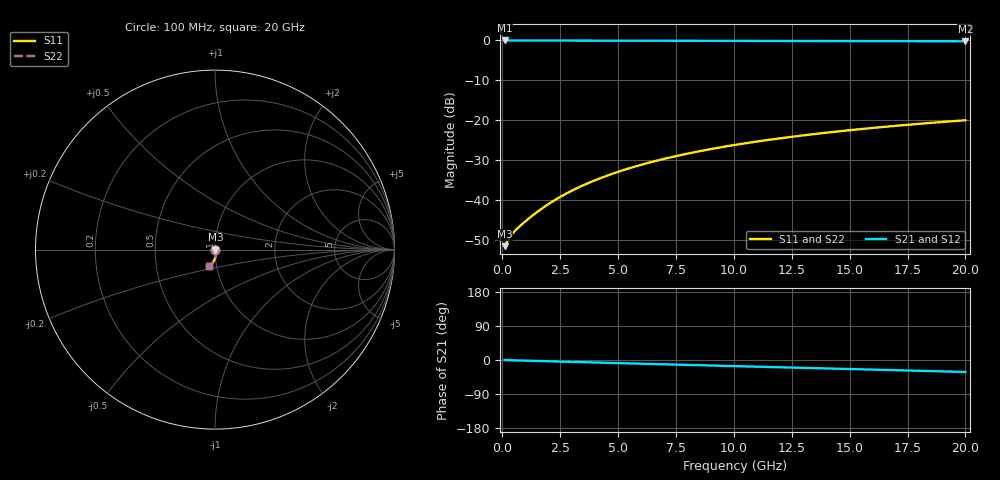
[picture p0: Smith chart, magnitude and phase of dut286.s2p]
! Touchstone file exported from HFSS 2026.1.0
!  File:  C:/ffzhzh/LocalFiles/Ansys_Project_Files/temp_train_BSMRDL_286_1782989185_42984.aedt
!  Generated:  06:47:32 PM Jul  2, 2026
!  Design:  BSMRDL
!  Project:  temp_train_BSMRDL_286_1782989185_42984
! Variables:
!  h_bsmrdl = 4.92um
!  h_ox = 20um
!  h_rdl = 5um
!  h_sub = 80um
!  h_tmrdl = 5um
!  h_tsv = 80um
!  h_via = 3um
!  l_bsmrdl = 561.13um
!  l_sub = 961.13um
!  l_tmrdl = 200um
!  m_sub = 200um
!  pitch = 19.77um
!  r_tsv = 6um
!  s_tmrdl = 10um
!  w_bsmrdl = 16.91um
!  w_sub = 500um
!  w_tmrdl = 12um
!  x_tsv_center1 = 206um
!  x_tsv_center2 = 784.04um
!  x_tsv_center3 = 996.04um
!  x_tsv_center4 = 1574.08um
!  x_tsv_center5 = 1786.08um
!  x_tsv_center6 = 2364.12um
# GHz S MA R 50.000000
! Terminal data exported
! Port[1] = BSM_RDL1_1_T1
! Port[2] = BSM_RDL1_1_T2
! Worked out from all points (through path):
!   200 points, 100 MHz to 20 GHz, reference 50 ohm
!   highest |S21| = -0.02 dB at 100 MHz (marker M1); lowest = -0.2 dB at 20 GHz (marker M2)
!   group delay of S21, straight-line fit = 4.36 ps
!   lowest |S11| = -51.6 dB at 100 MHz (marker M3), VSWR 1.01, Z = 50.3 + j0.0161 ohm
!   |S11| at or under -10 dB: start of sweep to end of sweep
!   |S22| runs from -51.6 to -20.0 dB; largest |S21 - S12| = 2.1e-15
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0.1  0.002622 3.5  0.9974 -0.2  0.9974 -0.2  0.002622 3.5
! Gamma 0 0 0 0
! Port Impedance 50 0 50 0
0.3  0.003331 -2.2  0.9967 -0.6  0.9967 -0.6  0.003331 -2.2
0.4  0.003657 -7.8  0.9964 -0.7  0.9964 -0.7  0.003657 -7.8
0.5  0.003953 -13.5  0.9961 -0.9  0.9961 -0.9  0.003953 -13.5
0.7  0.004513 -23.6  0.9958 -1.2  0.9958 -1.2  0.004514 -23.6
0.9  0.005086 -31.9  0.9956 -1.5  0.9956 -1.5  0.005088 -31.9
1.4  0.006681 -46.1  0.9952 -2.4  0.9952 -2.4  0.006684 -46.1
1.9  0.008488 -54.8  0.9947 -3.2  0.9947 -3.2  0.008493 -54.7
2.4  0.01046 -60.4  0.9942 -4.0  0.9942 -4.0  0.01047 -60.4
2.9  0.01257 -64.5  0.9936 -4.8  0.9936 -4.8  0.01257 -64.5
3.5  0.01524 -68.2  0.9928 -5.8  0.9928 -5.8  0.01525 -68.2
4.2  0.01852 -71.6  0.9919 -6.9  0.9919 -6.9  0.01853 -71.6
5  0.02244 -74.9  0.9908 -8.2  0.9908 -8.2  0.02246 -74.8
5.9  0.027 -78.1  0.9897 -9.6  0.9897 -9.6  0.02702 -78.0
6.8  0.03166 -80.9  0.9885 -11.1  0.9885 -11.1  0.03169 -80.8
8.3  0.03956 -85.2  0.9867 -13.4  0.9867 -13.4  0.0396 -85.1
10.1  0.04909 -89.8  0.9847 -16.2  0.9847 -16.2  0.04915 -89.7
11.7  0.05754 -93.6  0.983 -18.7  0.983 -18.7  0.05761 -93.4
13.4  0.06643 -97.3  0.9811 -21.4  0.9811 -21.4  0.06651 -97.1
15  0.07468 -100.6  0.9794 -23.8  0.9794 -23.8  0.07479 -100.4
16.7  0.08331 -104.0  0.9776 -26.5  0.9776 -26.5  0.08343 -103.8
20  0.09955 -110.2  0.9739 -31.6  0.9739 -31.6  0.09971 -109.9
